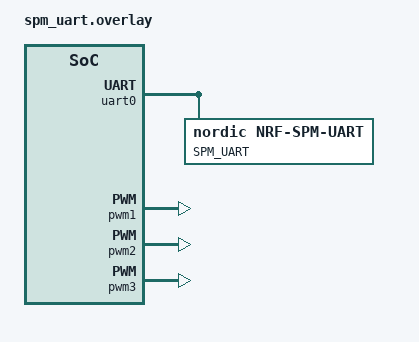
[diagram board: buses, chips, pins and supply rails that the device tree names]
/* SPDX-License-Identifier: LicenseRef-Nordic-5-Clause */

/ {
	chosen {
		zephyr,console = &spm_uart;
	};
};

&uart0 {
	status = "okay";

	spm_uart: nrf-spm-uart {
		compatible = "nordic,nrf-spm-uart";
		status = "okay";
		label = "SPM_UART";
	};
};

/* This is a workaround for a problem that it's not possible to merge
 * board-specific and DTC_OVERLAY_FILE defined overlays. Originally PWM was
 * only enabled for nrf9160dk_nrf9160, but since enabling it only for that board
 * would make spm_uart overlay selection problematic.
 */
&pwm1 {
	status = "okay";
};

&pwm2 {
	status = "okay";
};

&pwm3 {
	status = "okay";
};
